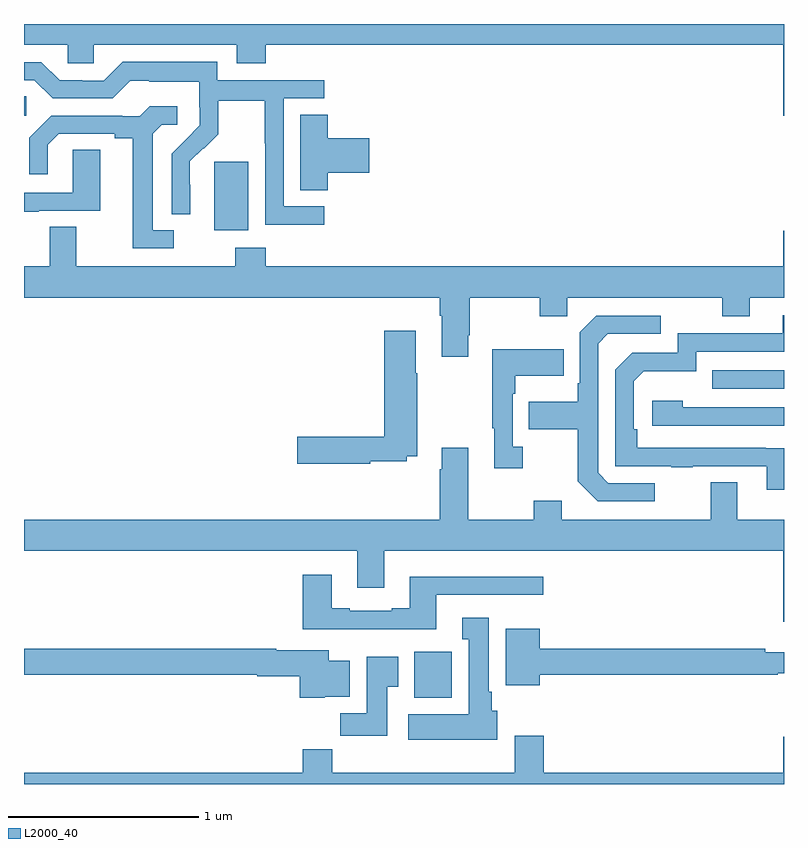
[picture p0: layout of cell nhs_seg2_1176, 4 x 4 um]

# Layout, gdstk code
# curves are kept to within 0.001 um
import gdstk
lib = gdstk.Library(unit=1e-6, precision=1e-09)
def R(c, l, rs):  # rectangles x0, y0, x1, y1
    for r in rs: c.add(gdstk.rectangle(r[:2], r[2:], *l))
def P(c, l, *ps):  # polygons
    for p in ps: c.add(gdstk.Polygon(p, *l))
L2000_40 = (2000, 40)

nhs_seg2_1176 = lib.new_cell('nhs_seg2_1176')
R(nhs_seg2_1176, L2000_40, [(175.055,588.254,175.252,588.496), (176.623,589.881,177,589.977), (174.002,590.714,174.181,591.075), (173,591.318,173.011,591.419)])
P(nhs_seg2_1176, L2000_40, [(177,591.8),(173,591.8),(173,591.692),(173.229,591.692),(173.229,591.594),(173.367,591.594),(173.367,591.692),(174.119,591.692),(174.119,591.593),(174.272,591.593),(174.272,591.692),(176.996,591.692),(176.996,591.318),(177,591.318)],
  [(174.58,590.841),(174.366,590.841),(174.366,591.408),(174.58,591.408),(174.58,591.504),(174.018,591.504),(174.018,591.601),(173.521,591.601),(173.421,591.501),(173.306,591.501),(173.306,591.504),(173.187,591.504),(173.091,591.6),(173,591.6),(173,591.504),(173.055,591.504),(173.151,591.408),(173.466,591.408),(173.559,591.501),(173.659,591.501),(173.659,591.497),(173.922,591.497),(173.922,591.363),(173.924,591.363),(173.924,591.266),(173.778,591.118),(173.778,590.8),(173.874,590.8),(173.873,591.077),(173.943,591.147),(173.946,591.144),(174.023,591.221),(174.023,591.396),(174.268,591.396),(174.268,591.172),(174.27,591.172),(174.27,590.743),(174.58,590.743)],
  [(173.788,590.715),(173.677,590.715),(173.677,591.223),(173.724,591.27),(173.806,591.27),(173.806,591.367),(173.662,591.367),(173.61,591.315),(173.516,591.315),(173.516,591.318),(173.144,591.318),(173.028,591.202),(173.028,591.009),(173.125,591.009),(173.125,591.165),(173.182,591.222),(173.477,591.222),(173.477,591.2),(173.573,591.2),(173.573,590.619),(173.788,590.619)],
  [(174.599,591.017),(174.817,591.017),(174.817,591.2),(174.599,591.2),(174.599,591.323),(174.455,591.323),(174.455,590.926),(174.599,590.926)],
  [(173.077,590.817),(173.401,590.817),(173.401,591.137),(173.256,591.137),(173.256,590.913),(173,590.913),(173,590.813),(173.077,590.813)],
  [(177,590.713),(176.996,590.713),(176.996,590.524),(174.272,590.524),(174.272,590.623),(174.112,590.623),(174.112,590.524),(173.275,590.524),(173.275,590.732),(173.135,590.732),(173.135,590.524),(173,590.524),(173,590.36),(175.187,590.36),(175.187,590.264),(175.199,590.264),(175.199,590.049),(175.339,590.049),(175.339,590.161),(175.347,590.161),(175.347,590.36),(175.714,590.36),(175.714,590.261),(175.86,590.261),(175.86,590.36),(176.674,590.36),(176.674,590.261),(176.821,590.261),(176.821,590.36),(177,590.36)],
  [(177,589.568),(176.228,589.569),(176.228,589.666),(176.208,589.666),(176.208,589.92),(176.261,589.973),(176.538,589.973),(176.538,590.076),(177,590.076),(177,590.268),(176.993,590.268),(176.993,590.172),(176.442,590.172),(176.442,590.07),(176.202,590.07),(176.112,589.98),(176.112,589.473),(176.407,589.473),(176.407,589.468),(176.519,589.468),(176.519,589.473),(176.909,589.473),(176.909,589.35),(177,589.35)],
  [(176.32,589.383),(176.076,589.383),(176.022,589.437),(176.022,590.118),(176.073,590.169),(176.35,590.169),(176.35,590.265),(176.013,590.265),(175.926,590.178),(175.926,589.909),(175.914,589.909),(175.914,589.813),(175.657,589.813),(175.657,589.666),(175.914,589.666),(175.914,589.393),(176.019,589.287),(176.32,589.287)],
  [(174.822,589.498),(175.014,589.498),(175.014,589.526),(175.071,589.526),(175.071,589.961),(175.063,589.961),(175.063,590.185),(174.896,590.185),(174.896,589.628),(174.438,589.628),(174.438,589.486),(174.822,589.486)],
  [(175.624,589.574),(175.572,589.574),(175.572,589.853),(175.585,589.853),(175.585,589.949),(175.841,589.949),(175.841,590.089),(175.464,590.089),(175.464,589.673),(175.475,589.673),(175.475,589.461),(175.624,589.461)],
  [(177,589.782),(176.468,589.782),(176.468,589.816),(176.307,589.816),(176.307,589.686),(177,589.686)],
  [(177,589.192),(176.755,589.192),(176.755,589.387),(176.615,589.387),(176.615,589.192),(175.831,589.192),(175.831,589.291),(175.684,589.291),(175.684,589.192),(175.339,589.192),(175.339,589.57),(175.199,589.57),(175.199,589.457),(175.187,589.457),(175.187,589.192),(173,589.192),(173,589.028),(174.755,589.028),(174.755,588.834),(174.895,588.834),(174.895,589.028),(176.996,589.028),(176.996,588.654),(177,588.654)],
  [(175.171,588.795),(175.732,588.795),(175.732,588.892),(175.031,588.892),(175.031,588.724),(174.935,588.724),(174.935,588.711),(174.715,588.711),(174.715,588.724),(174.619,588.724),(174.619,588.901),(174.467,588.901),(174.467,588.614),(175.171,588.614)],
  [(175.492,588.186),(175.462,588.186),(175.462,588.286),(175.447,588.286),(175.447,588.676),(175.307,588.676),(175.307,588.563),(175.34,588.563),(175.34,588.166),(175.023,588.166),(175.023,588.032),(175.492,588.032)],
  [(175.714,588.376),(176.967,588.376),(176.967,588.384),(177,588.384),(177,588.493),(176.9,588.493),(176.9,588.512),(175.714,588.512),(175.714,588.616),(175.535,588.616),(175.535,588.32),(175.714,588.32)],
  [(174.582,588.26),(174.715,588.26),(174.715,588.448),(174.604,588.448),(174.604,588.505),(174.328,588.505),(174.328,588.512),(173,588.512),(173,588.376),(174.228,588.376),(174.228,588.368),(174.452,588.368),(174.452,588.254),(174.582,588.254)],
  [(174.913,588.313),(174.97,588.313),(174.97,588.469),(174.803,588.469),(174.803,588.172),(174.664,588.172),(174.664,588.054),(174.913,588.054)],
  [(177,588.049),(176.996,588.049),(176.996,587.86),(175.736,587.86),(175.736,588.055),(175.583,588.055),(175.583,587.86),(174.623,587.86),(174.623,587.984),(174.467,587.984),(174.467,587.86),(173,587.86),(173,587.8),(177,587.8)])

lib.write_gds('nhs_seg2_1176.gds')
